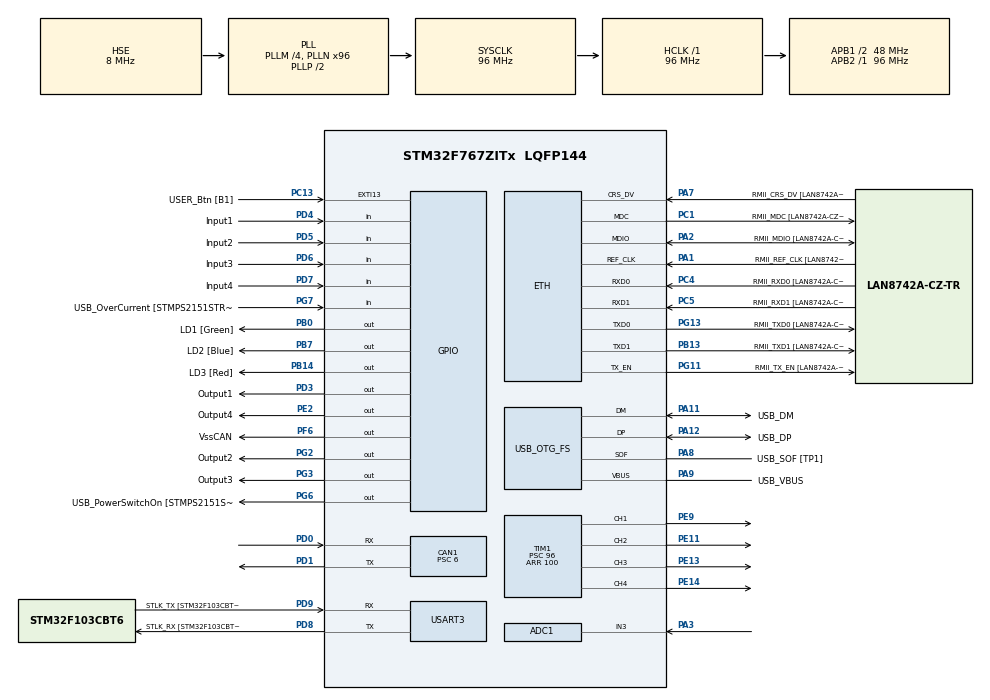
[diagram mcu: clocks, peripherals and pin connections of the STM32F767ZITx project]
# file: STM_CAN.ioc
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ADC1.Channel-0\#ChannelRegularConversion=ADC_CHANNEL_3
ADC1.DMAContinuousRequests=ENABLE
ADC1.ExternalTrigConv=ADC_EXTERNALTRIGCONV_T5_TRGO
ADC1.NbrOfConversion=1
ADC1.NbrOfConversionFlag=1
ADC1.Rank-0\#ChannelRegularConversion=1
ADC1.SamplingTime-0\#ChannelRegularConversion=ADC_SAMPLETIME_3CYCLES
ADC1.ScanConvMode=ADC_SCAN_ENABLE
ADC1.master=1
CAN1.BS1=CAN_BS1_4TQ
CAN1.BS2=CAN_BS2_3TQ
CAN1.CalculateTimeQuantum=125.0
CAN1.Prescaler=6
Dma.ADC1.0.Direction=DMA_PERIPH_TO_MEMORY
Dma.ADC1.0.FIFOMode=DMA_FIFOMODE_DISABLE
Dma.ADC1.0.Instance=DMA2_Stream0
Dma.ADC1.0.MemDataAlignment=DMA_MDATAALIGN_HALFWORD
Dma.ADC1.0.MemInc=DMA_MINC_ENABLE
Dma.ADC1.0.Mode=DMA_CIRCULAR
Dma.ADC1.0.PeriphDataAlignment=DMA_PDATAALIGN_HALFWORD
Dma.ADC1.0.PeriphInc=DMA_PINC_DISABLE
Dma.ADC1.0.Priority=DMA_PRIORITY_LOW
Dma.Request0=ADC1
ETH.MediaInterface=ETH_MEDIA_INTERFACE_RMII
ETH.PHY_Name=LAN8742A_PHY_ADDRESS
ETH.PHY_Value=0
ETH.PhyAddress=0
Mcu.Family=STM32F7
Mcu.Name=STM32F767ZITx
Mcu.Package=LQFP144
NVIC.CAN1_RX0_IRQn=true\:0\:0\:false\:false\:true\:true\:true
NVIC.CAN1_RX1_IRQn=true\:0\:0\:false\:false\:true\:true\:true
NVIC.CAN1_TX_IRQn=true\:0\:0\:false\:false\:true\:true\:true
NVIC.DMA2_Stream0_IRQn=true\:0\:0\:false\:false\:true\:false\:true
NVIC.EXTI15_10_IRQn=true\:0\:0\:false\:false\:true\:true\:true
NVIC.PriorityGroup=NVIC_PRIORITYGROUP_4
PA1.GPIO_Label=RMII_REF_CLK [LAN8742A-CZ-TR_REFCLK0]
PA1.Mode=RMII
PA1.Signal=ETH_REF_CLK
PA10.GPIO_Label=USB_ID
PA10.Signal=USB_OTG_FS_ID
PA11.GPIO_Label=USB_DM
PA11.Mode=Device_Only
PA11.Signal=USB_OTG_FS_DM
PA12.GPIO_Label=USB_DP
PA12.Mode=Device_Only
PA12.Signal=USB_OTG_FS_DP
PA13.GPIO_Label=TMS
PA13.Mode=Serial_Wire
PA13.Signal=SYS_JTMS-SWDIO
PA14.GPIO_Label=TCK
PA14.Mode=Serial_Wire
PA14.Signal=SYS_JTCK-SWCLK
PA2.GPIO_Label=RMII_MDIO [LAN8742A-CZ-TR_MDIO]
PA2.Mode=RMII
PA2.Signal=ETH_MDIO
PA3.Signal=ADCx_IN3
PA7.GPIO_Label=RMII_CRS_DV [LAN8742A-CZ-TR_CRS_DV]
PA7.Mode=RMII
PA7.Signal=ETH_CRS_DV
PA8.GPIO_Label=USB_SOF [TP1]
PA8.Mode=Activate_SOF_FS
PA8.Signal=USB_OTG_FS_SOF
PA9.GPIO_Label=USB_VBUS
PA9.Mode=Activate_VBUS
PA9.Signal=USB_OTG_FS_VBUS
PB0.GPIO_Label=LD1 [Green]
PB0.Signal=GPIO_Output
PB13.GPIO_Label=RMII_TXD1 [LAN8742A-CZ-TR_TXD1]
PB13.Mode=RMII
PB13.Signal=ETH_TXD1
PB14.GPIO_Label=LD3 [Red]
PB14.Signal=GPIO_Output
PB3.GPIO_Label=SWO
PB3.Signal=SYS_JTDO-SWO
PB7.GPIO_Label=LD2 [Blue]
PB7.Signal=GPIO_Output
PC1.GPIO_Label=RMII_MDC [LAN8742A-CZ-TR_MDC]
PC1.Mode=RMII
PC1.Signal=ETH_MDC
PC13.GPIO_Label=USER_Btn [B1]
PC13.Signal=GPXTI13
PC14/OSC32_IN.Mode=LSE-External-Oscillator
PC14/OSC32_IN.Signal=RCC_OSC32_IN
PC15/OSC32_OUT.Mode=LSE-External-Oscillator
PC15/OSC32_OUT.Signal=RCC_OSC32_OUT
PC4.GPIO_Label=RMII_RXD0 [LAN8742A-CZ-TR_RXD0]
PC4.Mode=RMII
PC4.Signal=ETH_RXD0
PC5.GPIO_Label=RMII_RXD1 [LAN8742A-CZ-TR_RXD1]
PC5.Mode=RMII
PC5.Signal=ETH_RXD1
PD0.GPIO_PuPd=GPIO_PULLUP
PD0.Mode=Master
PD0.Signal=CAN1_RX
PD1.Mode=Master
PD1.Signal=CAN1_TX
PD3.GPIO_Label=Output1
PD3.Signal=GPIO_Output
PD4.GPIO_Label=Input1
PD4.Signal=GPIO_Input
PD5.GPIO_Label=Input2
PD5.Signal=GPIO_Input
PD6.GPIO_Label=Input3
PD6.Signal=GPIO_Input
PD7.GPIO_Label=Input4
PD7.Signal=GPIO_Input
PD8.GPIO_Label=STLK_RX [STM32F103CBT6_PA3]
PD8.Mode=Asynchronous
PD8.Signal=USART3_TX
PD9.GPIO_Label=STLK_TX [STM32F103CBT6_PA2]
PD9.Mode=Asynchronous
PD9.Signal=USART3_RX
PE11.Signal=S_TIM1_CH2
PE13.Signal=S_TIM1_CH3
PE14.Signal=S_TIM1_CH4
PE2.GPIO_Label=Output4
PE2.Signal=GPIO_Output
PE9.Signal=S_TIM1_CH1
PF6.GPIO_Label=VssCAN
PF6.GPIO_PuPd=GPIO_PULLUP
PF6.PinState=GPIO_PIN_SET
PF6.Signal=GPIO_Output
PG11.GPIO_Label=RMII_TX_EN [LAN8742A-CZ-TR_TXEN]
PG11.Mode=RMII
PG11.Signal=ETH_TX_EN
PG13.GPIO_Label=RMII_TXD0 [LAN8742A-CZ-TR_TXD0]
PG13.Mode=RMII
PG13.Signal=ETH_TXD0
PG2.GPIO_Label=Output2
PG2.Signal=GPIO_Output
PG3.GPIO_Label=Output3
PG3.Signal=GPIO_Output
PG6.GPIO_Label=USB_PowerSwitchOn [STMPS2151STR_EN]
PG6.Signal=GPIO_Output
PG7.GPIO_Label=USB_OverCurrent [STMPS2151STR_FAULT]
PG7.Signal=GPIO_Input
PH0/OSC_IN.GPIO_Label=MCO [STM32F103CBT6_PA8]
PH0/OSC_IN.Mode=HSE-External-Clock-Source
PH0/OSC_IN.Signal=RCC_OSC_IN
PH1/OSC_OUT.Mode=HSE-External-Clock-Source
PH1/OSC_OUT.Signal=RCC_OSC_OUT
ProjectManager.HeapSize=0x400
ProjectManager.StackSize=0x800
ProjectManager.TargetToolchain=Makefile
RCC.48MHZClocksFreq_Value=24000000
RCC.AHBFreq_Value=96000000
RCC.APB1CLKDivider=RCC_HCLK_DIV2
RCC.APB1Freq_Value=48000000
RCC.APB1TimFreq_Value=96000000
RCC.APB2Freq_Value=96000000
RCC.APB2TimFreq_Value=96000000
RCC.CortexFreq_Value=96000000
RCC.HCLKFreq_Value=96000000
RCC.HSE_VALUE=8000000
RCC.HSI_VALUE=16000000
RCC.PLLM=4
RCC.PLLMUL=RCC_PLL_MUL9
RCC.PLLN=96
RCC.PLLQ=4
RCC.PRESCALERUSB=RCC_USBCLKSOURCE_PLL_DIV1_5
RCC.SYSCLKFreq_VALUE=96000000
RCC.SYSCLKSource=RCC_SYSCLKSOURCE_PLLCLK
RCC.SYSCLKSourceVirtual=RCC_SYSCLKSOURCE_PLLCLK
RCC.USBFreq_Value=48000000
RCC.VCOOutputFreq_Value=192000000
SH.ADCx_IN3.0=ADC1_IN3,IN3
SH.S_TIM1_CH1.0=TIM1_CH1,PWM Generation1 CH1
SH.S_TIM1_CH2.0=TIM1_CH2,PWM Generation2 CH2
SH.S_TIM1_CH3.0=TIM1_CH3,PWM Generation3 CH3
SH.S_TIM1_CH4.0=TIM1_CH4,PWM Generation4 CH4
TIM1.AutoReloadPreload=TIM_AUTORELOAD_PRELOAD_ENABLE
TIM1.Channel-PWM\ Generation1\ CH1=TIM_CHANNEL_1
TIM1.Channel-PWM\ Generation2\ CH2=TIM_CHANNEL_2
TIM1.Channel-PWM\ Generation3\ CH3=TIM_CHANNEL_3
TIM1.Channel-PWM\ Generation4\ CH4=TIM_CHANNEL_4
TIM1.CounterMode=TIM_COUNTERMODE_CENTERALIGNED2
TIM1.Period=100
TIM1.Prescaler=96
TIM1.TIM_MasterOutputTrigger=TIM_TRGO_UPDATE
USART3.VirtualMode-Asynchronous=VM_ASYNC
USB_OTG_FS.VirtualMode=Device_Only
VP_TIM1_VS_ClockSourceINT.Mode=Internal
board=NUCLEO-F767ZI

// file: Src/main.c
/* USER CODE BEGIN Header */
/**
  ******************************************************************************
  * @file           : main.c
  * @brief          : Main program body
  ******************************************************************************
  * @attention
  *
  * <h2><center>&copy; Copyright (c) 2021 STMicroelectronics.
  * All rights reserved.</center></h2>
  *
  * This software component is licensed by ST under BSD 3-Clause license,
  * the "License"; You may not use this file except in compliance with the
  * License. You may obtain a copy of the License at:
  *                        opensource.org/licenses/BSD-3-Clause
  *
  ******************************************************************************
  */
/* USER CODE END Header */

#include "main.h"
#include "adc.h"
#include "can.h"
#include "dma.h"
#include "eth.h"
#include "tim.h"
#include "usart.h"
#include "usb_otg.h"
#include "gpio.h"

/* USER CODE BEGIN Includes */

#include "canopen_link.h"
#include "module.h"

/* USER CODE END Includes */

/* USER CODE BEGIN PV */

volatile int8_t alowTransmity;

/* USER CODE END PV */

void SystemClock_Config(void);
/* USER CODE BEGIN PFP */

void Transmit_Back();
extern void config(void);
extern void loop(void);

/* USER CODE END PFP */

int main(void)
{

  /* MCU Configuration--------------------------------------------------------*/

  /* Reset of all peripherals, Initializes the Flash interface and the Systick. */
  HAL_Init();

  /* Configure the system clock */
  SystemClock_Config();

  /* Initialize all configured peripherals */
  MX_GPIO_Init();
  MX_DMA_Init();
  MX_CAN1_Init();
  MX_ETH_Init();
  MX_USART3_UART_Init();
  MX_USB_OTG_FS_PCD_Init();
  MX_TIM1_Init();
  MX_ADC1_Init();
  /* USER CODE BEGIN 2 */

  canopen_link_init();
  module_init();

  /* USER CODE END 2 */

  /* Infinite loop */
  while (1)
  {

    /* USER CODE BEGIN 3 */
    canopen_link_poll();
    module_poll();
  }
  /* USER CODE END 3 */
}

void SystemClock_Config(void)
{
  RCC_OscInitTypeDef RCC_OscInitStruct = {0};
  RCC_ClkInitTypeDef RCC_ClkInitStruct = {0};
  RCC_PeriphCLKInitTypeDef PeriphClkInitStruct = {0};

  /** Configure LSE Drive Capability
  */
  HAL_PWR_EnableBkUpAccess();
  /** Configure the main internal regulator output voltage
  */
  __HAL_RCC_PWR_CLK_ENABLE();
  __HAL_PWR_VOLTAGESCALING_CONFIG(PWR_REGULATOR_VOLTAGE_SCALE3);
  /** Initializes the CPU, AHB and APB busses clocks
  */
  RCC_OscInitStruct.OscillatorType = RCC_OSCILLATORTYPE_HSE;
  RCC_OscInitStruct.HSEState = RCC_HSE_BYPASS;
  RCC_OscInitStruct.PLL.PLLState = RCC_PLL_ON;
  RCC_OscInitStruct.PLL.PLLSource = RCC_PLLSOURCE_HSE;
  RCC_OscInitStruct.PLL.PLLM = 4;
  RCC_OscInitStruct.PLL.PLLN = 96;
  RCC_OscInitStruct.PLL.PLLP = RCC_PLLP_DIV2;
  RCC_OscInitStruct.PLL.PLLQ = 4;
  if (HAL_RCC_OscConfig(&RCC_OscInitStruct) != HAL_OK)
  {
    Error_Handler();
  }
  /** Activate the Over-Drive mode
  */
  if (HAL_PWREx_EnableOverDrive() != HAL_OK)
  {
    Error_Handler();
  }
  /** Initializes the CPU, AHB and APB busses clocks
  */
  RCC_ClkInitStruct.ClockType = RCC_CLOCKTYPE_HCLK|RCC_CLOCKTYPE_SYSCLK
                              |RCC_CLOCKTYPE_PCLK1|RCC_CLOCKTYPE_PCLK2;
  RCC_ClkInitStruct.SYSCLKSource = RCC_SYSCLKSOURCE_PLLCLK;
  RCC_ClkInitStruct.AHBCLKDivider = RCC_SYSCLK_DIV1;
  RCC_ClkInitStruct.APB1CLKDivider = RCC_HCLK_DIV2;
  RCC_ClkInitStruct.APB2CLKDivider = RCC_HCLK_DIV1;

  if (HAL_RCC_ClockConfig(&RCC_ClkInitStruct, FLASH_LATENCY_3) != HAL_OK)
  {
    Error_Handler();
  }
  PeriphClkInitStruct.PeriphClockSelection = RCC_PERIPHCLK_USART3|RCC_PERIPHCLK_CLK48;
  PeriphClkInitStruct.Usart3ClockSelection = RCC_USART3CLKSOURCE_PCLK1;
  PeriphClkInitStruct.Clk48ClockSelection = RCC_CLK48SOURCE_PLL;
  if (HAL_RCCEx_PeriphCLKConfig(&PeriphClkInitStruct) != HAL_OK)
  {
    Error_Handler();
  }
}

/* USER CODE BEGIN 4 */

void Transmit_Back()
{
  if (alowTransmity)
  {
    if (HAL_CAN_GetTxMailboxesFreeLevel(&hcan1) != 0)
    {
      CAN_TxHeaderTypeDef msgHeader;
      uint8_t msgData[8];
      msgHeader.StdId = 0x200;
      msgHeader.DLC = 8;
      msgHeader.TransmitGlobalTime = DISABLE;
      msgHeader.RTR = CAN_RTR_DATA;
      msgHeader.IDE = CAN_ID_STD;

      uint32_t mailBoxNum = 0;

      for (uint8_t i = 0; i < 8; i++)
      {
        msgData[i] = i;
      }

      HAL_CAN_AddTxMessage(&hcan1, &msgHeader, msgData, &mailBoxNum);
    }
    alowTransmity = 0;
  }
}

void HAL_CAN_RxFifo0MsgPendingCallback(CAN_HandleTypeDef *hcan1)
{
  CAN_RxHeaderTypeDef msgHeader;
  uint32_t msgId = 0;
  uint8_t msgData[8];

  HAL_CAN_GetRxMessage(hcan1, CAN_RX_FIFO0, &msgHeader, msgData);

  if (msgHeader.IDE == CAN_ID_EXT)
  {
    msgId = msgHeader.ExtId;
  }
  else
  {
    msgId = msgHeader.StdId;
  }
  alowTransmity = 1;
}

void HAL_CAN_RxFifo1MsgPendingCallback(CAN_HandleTypeDef *hcan1)
{
  CAN_RxHeaderTypeDef msgHeader;
  uint32_t msgId = 0;
  uint8_t msgData[8];

  HAL_CAN_GetRxMessage(hcan1, CAN_RX_FIFO0, &msgHeader, msgData);

  if (msgHeader.IDE == CAN_ID_EXT)
  {
    msgId = msgHeader.ExtId;
  }
  else
  {
    msgId = msgHeader.StdId;
  }

  alowTransmity = 1;
}

void HAL_CAN_TxMailbox0CompleteCallback(CAN_HandleTypeDef *hcan1)
{
}
void HAL_CAN_TxMailbox1CompleteCallback(CAN_HandleTypeDef *hcan1)
{
}
void HAL_CAN_TxMailbox2CompleteCallback(CAN_HandleTypeDef *hcan1)
{
}

/* USER CODE END 4 */

void Error_Handler(void)
{
}

/************************ (C) COPYRIGHT STMicroelectronics *****END OF FILE****/
